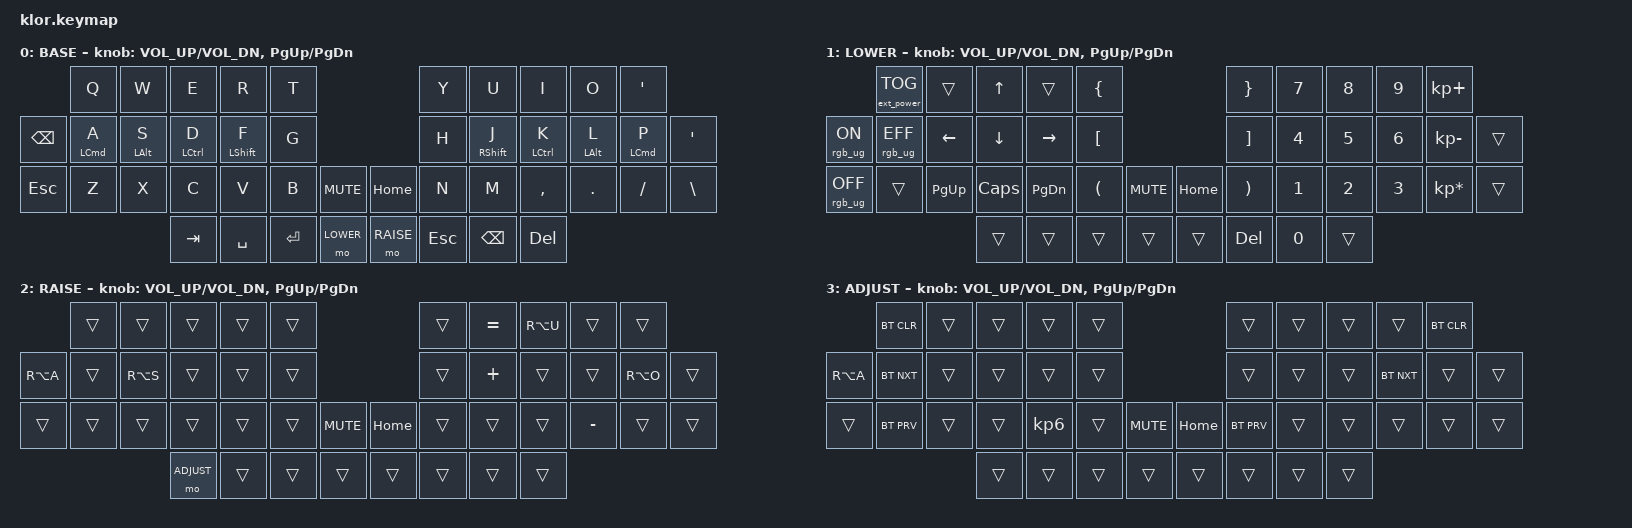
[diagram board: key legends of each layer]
/ {
behaviors {
    hm: homerow_mods {
        compatible = "zmk,behavior-hold-tap";
        label = "HOMEROW_MODS";
        #binding-cells = <2>;
        tapping-term-ms = <150>;
        quick_tap_ms = <0>;
        flavor = "tap-preferred";
        bindings = <&kp>, <&kp>;
    };

};

combos {
        compatible = "zmk,combos";
        combo_esc {
            timeout-ms = <50>;
            key-positions = <0 1>;
            bindings = <&kp ESC>;
        };
};



    keymap {
            compatible = "zmk,keymap";
// ▄▄▄▄▄▄▄▄▄▄▄▄▄▄▄▄▄▄▄▄▄▄▄▄▄▄▄▄▄▄▄▄▄▄▄▄▄▄▄▄▄▄▄▄▄▄▄▄▄▄▄▄▄▄▄▄▄▄▄▄▄▄▄▄▄▄▄▄▄▄▄▄▄▄▄▄▄▄▄▄▄▄▄▄▄▄▄▄▄▄▄▄▄▄▄▄▄▄▄▄▄▄▄▄▄▄▄▄▄▄▄▄▄▄▄▄▄▄▄▄▄▄▄▄▄▄▄▄▄▄▄▄▄▄▄▄▄▄▄▄▄▄

                base_layer {
// ┌───────────────────────────────────────────────────────────┐
label= "BASE"                                                  ;
// └───────────────────────────────────────────────────────────┘
 bindings = <
//                 ╭───────────────┬───────────────┬───────────────┬───────────────┬───────────────╮                                   ╭───────────────┬───────────────┬───────────────┬───────────────┬───────────────╮
                    &kp Q           &kp W           &kp E           &kp R           &kp T                                               &kp Y           &kp U           &kp I           &kp O           &kp SQT
// ╭───────────────┼───────────────┼───────────────┼───────────────┼───────────────┼───────────────┤                                   ├───────────────├───────────────┼───────────────┼───────────────┼───────────────┼───────────────╮
    &kp BSPC        &hm LCMD A      &hm LALT S      &hm LCTRL D     &hm LSHFT F     &kp G                                               &kp H           &hm RSHFT J     &hm LCTRL K     &hm LALT L      &hm LCMD P      &kp SQT
// ├───────────────┼───────────────┼───────────────┼───────────────┼───────────────┼───────────────┼───────────────╮   ╭───────────────┼───────────────┼───────────────┼───────────────┼───────────────┼───────────────┼───────────────┤
    &kp ESC         &kp Z           &kp X           &kp C           &kp V           &kp B           &kp C_MUTE          &kp HOME        &kp N           &kp M           &kp COMMA       &kp DOT         &kp FSLH        &kp BSLH
// ╰───────────────┴───────────────┴───────────────┼───────────────┼───────────────┼───────────────┼───────────────┤   ├───────────────┼───────────────┼───────────────┼───────────────┼───────────────┴───────────────┴───────────────╯
                                                    &kp TAB         &kp SPACE       &kp RET         &mo LOWER           &mo RAISE       &kp ESC         &kp BSPC        &kp DEL
//                                                 ╰───────────────┴───────────────┴───────────────┴───────────────╯   ╰───────────────┴───────────────┴───────────────┴───────────────╯
                        >;
                        sensor-bindings = <&inc_dec_kp C_VOL_UP C_VOL_DN &inc_dec_kp PG_UP PG_DN>;
                };

// ▄▄▄▄▄▄▄▄▄▄▄▄▄▄▄▄▄▄▄▄▄▄▄▄▄▄▄▄▄▄▄▄▄▄▄▄▄▄▄▄▄▄▄▄▄▄▄▄▄▄▄▄▄▄▄▄▄▄▄▄▄▄▄▄▄▄▄▄▄▄▄▄▄▄▄▄▄▄▄▄▄▄▄▄▄▄▄▄▄▄▄▄▄▄▄▄▄▄▄▄▄▄▄▄▄▄▄▄▄▄▄▄▄▄▄▄▄▄▄▄▄▄▄▄▄▄▄▄▄▄▄▄▄▄▄▄▄▄▄▄▄▄


                lower_layer {
// ┌───────────────────────────────────────────────────────────┐
label= "LOWER"                                                 ;
// └───────────────────────────────────────────────────────────┘
 bindings = <
//                 ╭───────────────┬───────────────┬───────────────┬───────────────┬───────────────╮                                   ╭───────────────┬───────────────┬───────────────┬───────────────┬───────────────╮
                    &ext_power EP_TOG &trans        &kp UP          &trans          &kp LBRC                                            &kp RBRC        &kp N7          &kp N8          &kp N9          &kp KP_PLUS
// ╭───────────────┼───────────────┼───────────────┼───────────────┼───────────────┼───────────────┤                                   ├───────────────├───────────────┼───────────────┼───────────────┼───────────────┼───────────────╮
    &rgb_ug RGB_ON  &rgb_ug RGB_EFF &kp LEFT        &kp DOWN        &kp RIGHT       &kp LBKT                                            &kp RBKT        &kp N4          &kp N5          &kp N6          &kp KP_MINUS    &trans
// ├───────────────┼───────────────┼───────────────┼───────────────┼───────────────┼───────────────┼───────────────╮   ╭───────────────┼───────────────┼───────────────┼───────────────┼───────────────┼───────────────┼───────────────┤
    &rgb_ug RGB_OFF &trans          &kp PG_UP       &kp CAPS        &kp PG_DN       &kp LPAR        &kp C_MUTE          &kp HOME        &kp RPAR        &kp N1          &kp N2          &kp N3          &kp KP_MULTIPLY &trans
// ╰───────────────┴───────────────┴───────────────┼───────────────┼───────────────┼───────────────┼───────────────┤   ├───────────────┼───────────────┼───────────────┼───────────────┼───────────────┴───────────────┴───────────────╯
                                                    &trans          &trans          &trans          &trans              &trans          &kp DELETE      &kp N0          &trans  
//                                                 ╰───────────────┴───────────────┴───────────────┴───────────────╯   ╰───────────────┴───────────────┴───────────────┴───────────────╯
                        >;
                sensor-bindings = <&inc_dec_kp C_VOL_UP C_VOL_DN &inc_dec_kp PG_UP PG_DN>;
                };

// ▄▄▄▄▄▄▄▄▄▄▄▄▄▄▄▄▄▄▄▄▄▄▄▄▄▄▄▄▄▄▄▄▄▄▄▄▄▄▄▄▄▄▄▄▄▄▄▄▄▄▄▄▄▄▄▄▄▄▄▄▄▄▄▄▄▄▄▄▄▄▄▄▄▄▄▄▄▄▄▄▄▄▄▄▄▄▄▄▄▄▄▄▄▄▄▄▄▄▄▄▄▄▄▄▄▄▄▄▄▄▄▄▄▄▄▄▄▄▄▄▄▄▄▄▄▄▄▄▄▄▄▄▄▄▄▄▄▄▄▄▄▄


                raise_layer {
// ┌───────────────────────────────────────────────────────────┐
label= "RAISE"                                                 ;
// └───────────────────────────────────────────────────────────┘
 bindings = <
//                 ╭───────────────┬───────────────┬───────────────┬───────────────┬───────────────╮                                   ╭───────────────┬───────────────┬───────────────┬───────────────┬───────────────╮
                    &trans          &trans          &trans          &trans          &trans                                              &trans          &kp EQUAL       &kp RA(U)       &trans          &trans     
// ╭───────────────┼───────────────┼───────────────┼───────────────┼───────────────┼───────────────┤                                   ├───────────────├───────────────┼───────────────┼───────────────┼───────────────┼───────────────╮
    &kp RA(A)       &trans          &kp RA(S)       &trans          &trans          &trans                                              &trans          &kp PLUS        &trans          &trans          &kp RA(O)       &trans  
// ├───────────────┼───────────────┼───────────────┼───────────────┼───────────────┼───────────────┼───────────────╮   ╭───────────────┼───────────────┼───────────────┼───────────────┼───────────────┼───────────────┼───────────────┤
    &trans          &trans          &trans          &trans          &trans          &trans          &kp C_MUTE          &kp HOME        &trans          &trans          &trans          &kp MINUS       &trans          &trans
// ╰───────────────┴───────────────┴───────────────┼───────────────┼───────────────┼───────────────┼───────────────┤   ├───────────────┼───────────────┼───────────────┼───────────────┼───────────────┴───────────────┴───────────────╯
                                                    &mo ADJUST      &trans          &trans          &trans              &trans          &trans          &trans          &trans  
//                                                 ╰───────────────┴───────────────┴───────────────┴───────────────╯   ╰───────────────┴───────────────┴───────────────┴───────────────╯
                        >;
                sensor-bindings = <&inc_dec_kp C_VOL_UP C_VOL_DN &inc_dec_kp PG_UP PG_DN>;
                };

// ▄▄▄▄▄▄▄▄▄▄▄▄▄▄▄▄▄▄▄▄▄▄▄▄▄▄▄▄▄▄▄▄▄▄▄▄▄▄▄▄▄▄▄▄▄▄▄▄▄▄▄▄▄▄▄▄▄▄▄▄▄▄▄▄▄▄▄▄▄▄▄▄▄▄▄▄▄▄▄▄▄▄▄▄▄▄▄▄▄▄▄▄▄▄▄▄▄▄▄▄▄▄▄▄▄▄▄▄▄▄▄▄▄▄▄▄▄▄▄▄▄▄▄▄▄▄▄▄▄▄▄▄▄▄▄▄▄▄▄▄▄▄


                adjust_layer {
// ┌───────────────────────────────────────────────────────────┐
label= "ADJUST"                                                ;
// └───────────────────────────────────────────────────────────┘
 bindings = <
//                 ╭───────────────┬───────────────┬───────────────┬───────────────┬───────────────╮                                   ╭───────────────┬───────────────┬───────────────┬───────────────┬───────────────╮
                    &bt BT_CLR      &trans          &trans          &trans          &trans                                              &trans          &trans          &trans          &trans          &bt BT_CLR     
// ╭───────────────┼───────────────┼───────────────┼───────────────┼───────────────┼───────────────┤                                   ├───────────────├───────────────┼───────────────┼───────────────┼───────────────┼───────────────╮
    &kp RA(A)       &bt BT_NXT      &trans          &trans          &trans          &trans                                              &trans          &trans          &trans          &bt BT_NXT      &trans          &trans  
// ├───────────────┼───────────────┼───────────────┼───────────────┼───────────────┼───────────────┼───────────────╮   ╭───────────────┼───────────────┼───────────────┼───────────────┼───────────────┼───────────────┼───────────────┤
    &trans          &bt BT_PRV      &trans          &trans          &kp KP_N6       &trans          &kp C_MUTE          &kp HOME        &bt BT_PRV      &trans          &trans          &trans          &trans          &trans
// ╰───────────────┴───────────────┴───────────────┼───────────────┼───────────────┼───────────────┼───────────────┤   ├───────────────┼───────────────┼───────────────┼───────────────┼───────────────┴───────────────┴───────────────╯
                                                    &trans          &trans          &trans          &trans              &trans          &trans          &trans          &trans  
//                                                 ╰───────────────┴───────────────┴───────────────┴───────────────╯   ╰───────────────┴───────────────┴───────────────┴───────────────╯
                        >;
                sensor-bindings = <&inc_dec_kp C_VOL_UP C_VOL_DN &inc_dec_kp PG_UP PG_DN>;
                };
        };
};

